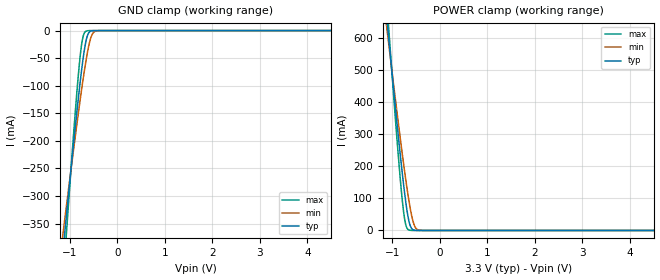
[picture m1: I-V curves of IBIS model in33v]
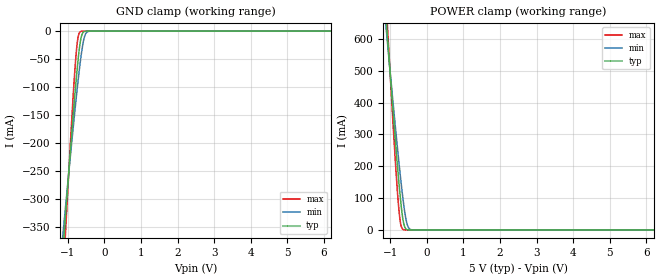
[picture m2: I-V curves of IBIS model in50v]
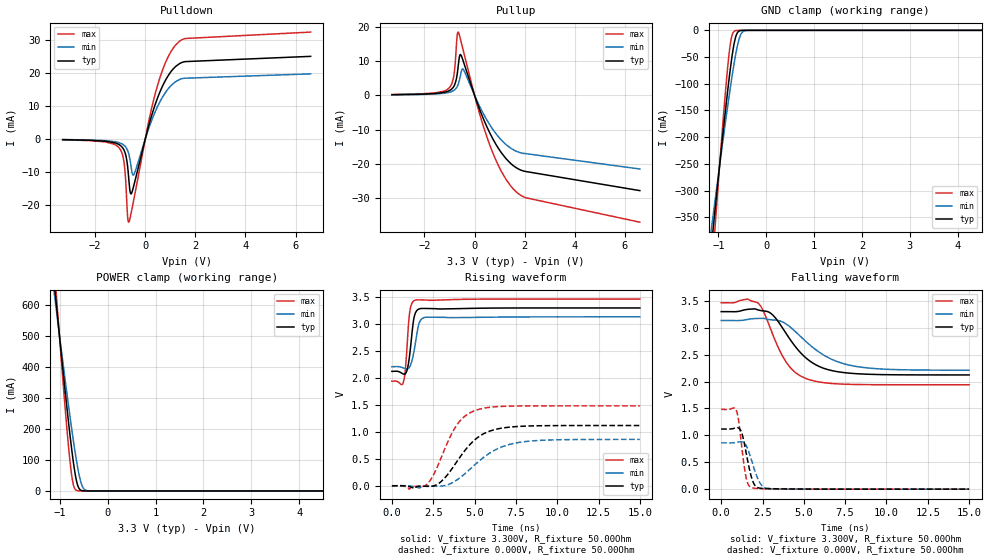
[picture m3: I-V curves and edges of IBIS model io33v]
[IBIS Ver]   3.2
[File Name]   lab_1.ibs
[File Rev]   0.00
[Date]   10/29/2003
[Source]   From silicon level SPICE model at Noname Corporation.
[Notes]   The following information doesn't correspond to any real
   product of any company.
[Disclaimer]   This information is for educational purposes only.
[Copyright]   Copyright 2003, Noname Corporation, All Rights Reserved.
[Component]   LAB_1
[Manufacturer]  Noname Corporation
[Package]
|   typ   min   max
R_pkg   200.000mOhm   100.000mOhm   300.000mOhm
L_pkg   4.00nH   3.00nH   5.00nH
C_pkg   2.00pF   1.00pF   3.00pF
[PIN]   signal_name   model_name   R_pin   L_pin   C_pin
1   Vcc   Power
2   GND   GND
3   Input3_3   in33v
4   Input5_0   in50v
5   Data_IO3_3   io33v
6   Input5_out3   io33v5
7   Data_IO5_0   io50v
8   Output5_5   out50v
9   Output3_3   out33v
10   Open_drain3_3   od33v
11   Open_source3_3  os33v
12   Repeat_last   od33v
13   Repeat_IO5_0   io50v
| Models and submodels in the file (9): in33v (Input), in50v (Input), io33v (I/O), io33v5 (I/O), io50v (I/O), out50v (Output), out33v (Output), od33v (I/O_open_sink), os33v (I/O_open_source)
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[Model]   in33v
Model_type   Input
Vinl = 800.000mV
Vinh = 2.000V
|   typ   min   max
C_comp   4.550pF   2.600pF   6.500pF
[Voltage Range]   3.300V   3.135V   3.465V
[Temperature Range]   50.0   100.0   0.0
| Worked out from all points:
|   GND clamp passes 1 mA (typ) near -0.56 V on its own axis
|   POWER clamp passes 1 mA (typ) near -0.54 V on its own axis
[GND Clamp]
|   Voltage   I(typ)   I(min)   I(max)
-3.3V     -2.416A    -1.934A    -3.285A
-1.14V    -399.6mA   -368.2mA   -457.3mA
-1.095V   -359.4mA   -336.9mA   -401.3mA
-1.065V   -332.8mA   -316.1mA   -364.2mA
-900mV    -190.1mA   -204mA     -167.9mA
-795mV    -105.4mA   -135.7mA   -59.93mA
-730mV    -58.86mA   -95.74mA   -15.61mA
-650mV    -16.44mA   -51.23mA   -860.1uA
-605mV    -5.03mA    -30.33mA   -124.6uA
-545mV    -680.9uA   -10.68mA   -9.758uA
-415mV    -6.553uA   -288.9uA   -39.92nA
6.6V      0A         0A         0A
[POWER Clamp]
|   Voltage   I(typ)   I(min)   I(max)
-3.3V     4.234A     3.486A     5.484A
-1.115V   666mA      635.7mA    719.1mA
-1.09V    627mA      604.4mA    667.2mA
-1.05V    564.9mA    554.6mA    585mA
-875mV    301.5mA    341.4mA    241.3mA
-780mV    169.5mA    231.1mA    84.52mA
-715mV    90.19mA    159.9mA    18.73mA
-650mV    31.09mA    95.27mA    1.638mA
-600mV    8.404mA    53.33mA    201.2uA
-545mV    1.357mA    20.63mA    19.51uA
-415mV    13.11uA    576.9uA    78.41nA
6.6V      0A         0A         0A
[Model]   in50v
Model_type   Input
Vinl = 800.000mV
Vinh = 2.000V
|   typ   min   max
C_comp   4.550pF   2.600pF   6.500pF
[Voltage Range]   5.000V   4.750V   5.250V
[Temperature Range]   50.0   100.0   0.0
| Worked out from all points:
|   GND clamp passes 1 mA (typ) near -0.56 V on its own axis
|   POWER clamp passes 1 mA (typ) near -0.54 V on its own axis
[GND Clamp]
|   Voltage   I(typ)   I(min)   I(max)
-5V       -4.027A    -3.186A    -5.543A
-1.13V    -390.7mA   -361.3mA   -444.8mA
-1.1V     -363.9mA   -340.4mA   -407.5mA
-1.06V    -328.4mA   -312.7mA   -358mA
-885mV    -177.6mA   -194mA     -151.1mA
-785mV    -97.87mA   -129.4mA   -51.4mA
-720mV    -52.41mA   -89.83mA   -11.61mA
-640mV    -13.05mA   -46.25mA   -566.3uA
-575mV    -1.921mA   -19.1mA    -34.84uA
-520mV    -281.6uA   -5.975mA   -3.374uA
-345mV    -531.1nA   -33.11uA   -5.619nA
10V       0A         0A         0A
[POWER Clamp]
|   Voltage   I(typ)   I(min)   I(max)
-5V       7.053A     5.738A     9.247A
-1.11V    658.2mA    629.4mA    708.7mA
-1.08V    611.4mA    591.9mA    646.6mA
-1.055V   572.7mA    560.8mA    595.2mA
-885mV    316.1mA    353.3mA    259.7mA
-780mV    169.5mA    231.1mA    84.52mA
-715mV    90.19mA    159.9mA    18.72mA
-640mV    24.84mA    86.19mA    1.081mA
-575mV    3.782mA    36.36mA    69.66uA
-525mV    671.4uA    13.17mA    8.338uA
-340mV    886.9nA    56.68uA    6.759nA
10V       0A         0A         0A
[Model]   io33v
Model_type   I/O
Vinl = 800.000mV
Vinh = 2.000V
Vmeas = 1.400V
Vref = 1.400V
Cref = 5.000pF
Rref = 100.000Ohm
|   typ   min   max
C_comp   4.550pF   2.600pF   6.500pF
[Voltage Range]   3.300V   3.135V   3.465V
[Temperature Range]   50.0   100.0   0.0
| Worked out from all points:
|   slope of the pulldown table from 0 to 0.495 V, typ, clamps not added: 39.6 ohm
|   slope of the pullup table from 0 to 0.495 V, typ, clamps not added: 53.7 ohm
|   GND clamp passes 1 mA (typ) near -0.56 V on its own axis
|   POWER clamp passes 1 mA (typ) near -0.54 V on its own axis
|   falling waveform, V_fixture 3.300V, R_fixture 50.00Ohm: 20-80 % time 1.91ns typ, 2.42ns min, 1.46ns max; typ from 3.3 V to 2.12 V
|   rising waveform, V_fixture 3.300V, R_fixture 50.00Ohm: 20-80 % time 262ps typ, 320ps min, 213ps max; typ from 2.12 V to 3.3 V
|   rising waveform, V_fixture 0.000V, R_fixture 50.00Ohm: 20-80 % time 1.77ns typ, 2.19ns min, 1.4ns max; typ from 0 V to 1.12 V
|   falling waveform, V_fixture 0.000V, R_fixture 50.00Ohm: 20-80 % time 461ps typ, 570ps min, 366ps max; typ from 1.12 V to 0 V
[Pulldown]
|   Voltage   I(typ)   I(min)   I(max)
-3.3V     -256.4uA   -208.9uA   -311.8uA
-1.04V    -1.786mA   -1.195mA   -2.784mA
-840mV    -3.589mA   -2.018mA   -7.696mA
-785mV    -4.824mA   -2.467mA   -12.52mA
-710mV    -8.173mA   -3.47mA    -23.22mA
-665mV    -11.73mA   -4.471mA   -25.24mA
-590mV    -16.53mA   -7.344mA   -23.33mA
-465mV    -14.31mA   -10.91mA   -18.6mA
415mV     10.84mA    8.569mA    14.2mA
845mV     18.27mA    14.46mA    23.76mA
1.22V     21.96mA    17.35mA    28.49mA
6.6V      24.96mA    19.66mA    32.31mA
[GND Clamp]
|   Voltage   I(typ)   I(min)   I(max)
-3.3V     -2.416A    -1.934A    -3.285A
-1.14V    -399.6mA   -368.2mA   -457.3mA
-1.095V   -359.4mA   -336.9mA   -401.3mA
-1.065V   -332.8mA   -316.1mA   -364.2mA
-900mV    -190.1mA   -204mA     -167.9mA
-795mV    -105.4mA   -135.7mA   -59.93mA
-730mV    -58.86mA   -95.74mA   -15.61mA
-650mV    -16.44mA   -51.23mA   -860.1uA
-605mV    -5.03mA    -30.33mA   -124.6uA
-545mV    -680.9uA   -10.68mA   -9.758uA
-415mV    -6.553uA   -288.9uA   -39.92nA
6.6V      0A         0A         0A
[Pullup]
|   Voltage   I(typ)   I(min)   I(max)
-3.3V     186.4uA    149.5uA    232uA
-1.03V    1.292mA    851.1uA    2.057mA
-830mV    2.586mA    1.434mA    5.645mA
-700mV    5.874mA    2.463mA    17.07mA
-660mV    8.116mA    3.078mA    18.43mA
-580mV    11.82mA    5.211mA    16.82mA
-440mV    9.708mA    7.47mA     12.73mA
520mV     -9.616mA   -7.536mA   -12.71mA
1.025V    -16.25mA   -12.68mA   -21.53mA
1.55V     -20.51mA   -15.87mA   -27.31mA
2.105V    -22.27mA   -17.05mA   -29.95mA
6.6V      -27.77mA   -21.47mA   -36.97mA
[POWER Clamp]
|   Voltage   I(typ)   I(min)   I(max)
-3.3V     4.234A     3.486A     5.484A
-1.115V   666mA      635.7mA    719.1mA
-1.09V    627mA      604.4mA    667.2mA
-1.05V    564.9mA    554.6mA    585mA
-875mV    301.5mA    341.4mA    241.3mA
-780mV    169.5mA    231.1mA    84.52mA
-715mV    90.19mA    159.9mA    18.73mA
-650mV    31.09mA    95.27mA    1.638mA
-600mV    8.404mA    53.33mA    201.2uA
-545mV    1.357mA    20.63mA    19.51uA
-415mV    13.11uA    576.9uA    78.41nA
6.6V      0A         0A         0A
[Ramp]
R_load = 50.00Ohm
|   typ   min   max
dV/dt_r   670.918mV/1.773ns   516.401mV/2.188ns   889.721mV/1.399ns
dV/dt_f   706.191mV/1.911ns   555.207mV/2.417ns   914.909mV/1.464ns
[Falling Waveform]
V_fixture = 3.300V
V_fixture_min = 3.135V
V_fixture_max = 3.465V
R_fixture = 50.00Ohm
|   Time   V(typ)   V(min)   V(max)
0s        3.3V       3.135V     3.465V
1.6ns     3.342V     3.155V     3.533V
2.25ns    3.33V      3.173V     3.453V
3.1ns     3.243V     3.146V     2.892V
3.925ns   2.896V     3.071V     2.366V
4.5ns     2.645V     2.926V     2.166V
5.275ns   2.403V     2.704V     2.041V
6.55ns    2.215V     2.434V     1.968V
8.125ns   2.147V     2.283V     1.946V
15ns      2.123V     2.21V      1.94V
[Rising Waveform]
V_fixture = 3.300V
V_fixture_min = 3.135V
V_fixture_max = 3.465V
R_fixture = 50.00Ohm
|   Time   V(typ)   V(min)   V(max)
0s        2.123V     2.21V      1.94V
700ps     2.073V     2.185V     1.927V
825ps     2.084V     2.171V     2.202V
1ns       2.269V     2.178V     2.987V
1.075ns   2.433V     2.207V     3.22V
1.275ns   2.998V     2.404V     3.418V
1.4ns     3.19V      2.612V     3.444V
1.65ns    3.282V     3.02V      3.451V
2.05ns    3.291V     3.127V     3.448V
15ns      3.3V       3.135V     3.465V
[Rising Waveform]
V_fixture = 0.000V
V_fixture_min = 0.000V
V_fixture_max = 0.000V
R_fixture = 50.00Ohm
|   Time   V(typ)   V(min)   V(max)
0s        203.5nV    239.5nV    264.3nV
1.05ns    -15.22mV   -3.754mV   -63.11mV
2.1ns     -10.05mV   -4.581mV   21.05mV
2.55ns    -471.5uV   -7.318mV   223mV
2.975ns   77.76mV    -6.212mV   517.2mV
3.925ns   446.1mV    107.1mV    1.128V
5.15ns    886.9mV    426.1mV    1.409V
6.35ns    1.052V     681.1mV    1.468V
7.7ns     1.102V     805.4mV    1.48V
15ns      1.118V     860.7mV    1.483V
[Falling Waveform]
V_fixture = 0.000V
V_fixture_min = 0.000V
V_fixture_max = 0.000V
R_fixture = 50.00Ohm
|   Time   V(typ)   V(min)   V(max)
0s        1.118V     860.7mV    1.483V
925ps     1.142V     869.3mV    1.46V
1.05ns    1.137V     876.2mV    1.284V
1.225ns   1.062V     880.2mV    840.3mV
1.5ns     693.6mV    816.9mV    229.8mV
1.65ns    457.4mV    713.2mV    78.9mV
1.875ns   180.4mV    497.9mV    26.18mV
2.3ns     21.54mV    140.8mV    11.66mV
2.725ns   8.361mV    19.3mV     6.692mV
15ns      203.5nV    239.5nV    264.3nV
